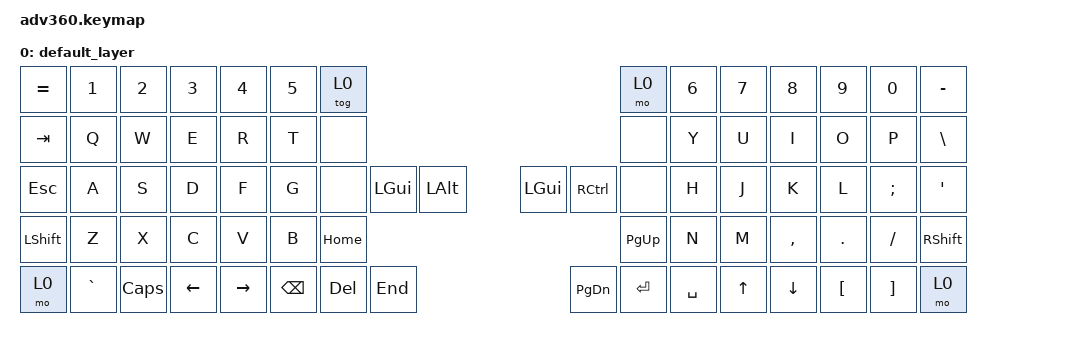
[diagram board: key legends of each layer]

/*
 * Copyright (c) 2020 The ZMK Contributors
 *
 * SPDX-License-Identifier: MIT
 */


/* THIS FILE WAS GENERATED!
 *
 * This file was generated automatically. You may or may not want to
 * edit it directly.
 */

#include <behaviors.dtsi>
#include <dt-bindings/zmk/keys.h>

/ {
  behaviors {
    #include "macros.dtsi"
    #include "version.dtsi"

    hm: homerow_mods {
        compatible = "zmk,behavior-hold-tap";
        label = "HOMEROW_MODS";
        #binding-cells = <2>;
        tapping-term-ms = <200>;
        quick_tap_ms = <175>;
        flavor = "tap-preferred";
        bindings = <&kp>, <&kp>;
    };
  };

    keymap {
        compatible = "zmk,keymap";


        default_layer {
            bindings = <
 &kp EQUAL     &kp N1    &kp N2    &kp N3     &kp N4  &kp N5              &tog 0                                                                    &mo 0  &kp N6  &kp N7     &kp N8    &kp N9    &kp N0  &kp MINUS
   &kp TAB      &kp Q     &kp W     &kp E      &kp R   &kp T               &none                                                                    &none   &kp Y   &kp U      &kp I     &kp O     &kp P   &kp BSLH
   &kp ESC      &kp A     &kp S     &kp D      &kp F   &kp G               &none  &kp LEFT_GUI  &kp LALT                   &kp LGUI  &kp RCTRL      &none   &kp H   &kp J      &kp K     &kp L  &kp SEMI    &kp SQT
 &kp LSHFT      &kp Z     &kp X     &kp C      &kp V   &kp B                                    &kp HOME                  &kp PG_UP                         &kp N   &kp M  &kp COMMA   &kp DOT  &kp FSLH  &kp RSHFT
     &mo 0  &kp GRAVE  &kp CAPS  &kp LEFT  &kp RIGHT                    &kp BSPC       &kp DEL   &kp END                  &kp PG_DN  &kp ENTER  &kp SPACE          &kp UP   &kp DOWN  &kp LBKT  &kp RBKT      &mo 0
            >;
        };

    };
};
